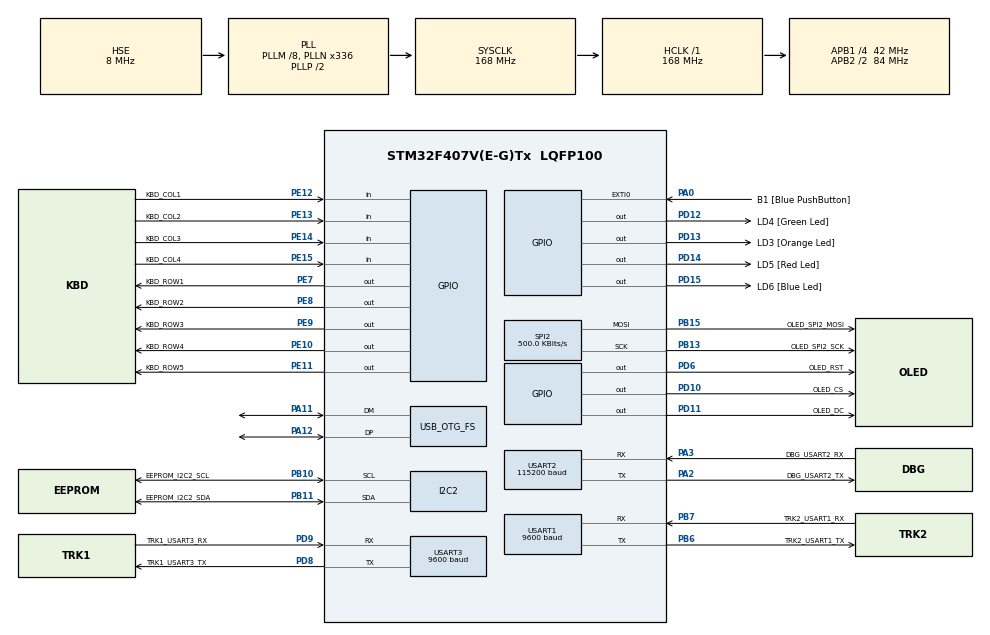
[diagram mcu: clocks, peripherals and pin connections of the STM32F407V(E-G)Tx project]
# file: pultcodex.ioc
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Dma.Request0=USART1_RX
Dma.Request1=USART1_TX
Dma.Request2=USART3_RX
Dma.Request3=USART3_TX
Dma.Request4=SPI2_TX
Dma.SPI2_TX.4.Direction=DMA_MEMORY_TO_PERIPH
Dma.SPI2_TX.4.FIFOMode=DMA_FIFOMODE_DISABLE
Dma.SPI2_TX.4.Instance=DMA1_Stream4
Dma.SPI2_TX.4.MemDataAlignment=DMA_MDATAALIGN_BYTE
Dma.SPI2_TX.4.MemInc=DMA_MINC_ENABLE
Dma.SPI2_TX.4.Mode=DMA_NORMAL
Dma.SPI2_TX.4.PeriphDataAlignment=DMA_PDATAALIGN_BYTE
Dma.SPI2_TX.4.PeriphInc=DMA_PINC_DISABLE
Dma.SPI2_TX.4.Priority=DMA_PRIORITY_HIGH
Dma.USART1_RX.0.Direction=DMA_PERIPH_TO_MEMORY
Dma.USART1_RX.0.FIFOMode=DMA_FIFOMODE_DISABLE
Dma.USART1_RX.0.Instance=DMA2_Stream2
Dma.USART1_RX.0.MemDataAlignment=DMA_MDATAALIGN_BYTE
Dma.USART1_RX.0.MemInc=DMA_MINC_ENABLE
Dma.USART1_RX.0.Mode=DMA_CIRCULAR
Dma.USART1_RX.0.PeriphDataAlignment=DMA_PDATAALIGN_BYTE
Dma.USART1_RX.0.PeriphInc=DMA_PINC_DISABLE
Dma.USART1_RX.0.Priority=DMA_PRIORITY_VERY_HIGH
Dma.USART1_TX.1.Direction=DMA_MEMORY_TO_PERIPH
Dma.USART1_TX.1.FIFOMode=DMA_FIFOMODE_DISABLE
Dma.USART1_TX.1.Instance=DMA2_Stream7
Dma.USART1_TX.1.MemDataAlignment=DMA_MDATAALIGN_BYTE
Dma.USART1_TX.1.MemInc=DMA_MINC_ENABLE
Dma.USART1_TX.1.Mode=DMA_NORMAL
Dma.USART1_TX.1.PeriphDataAlignment=DMA_PDATAALIGN_BYTE
Dma.USART1_TX.1.PeriphInc=DMA_PINC_DISABLE
Dma.USART1_TX.1.Priority=DMA_PRIORITY_HIGH
Dma.USART3_RX.2.Direction=DMA_PERIPH_TO_MEMORY
Dma.USART3_RX.2.FIFOMode=DMA_FIFOMODE_DISABLE
Dma.USART3_RX.2.Instance=DMA1_Stream1
Dma.USART3_RX.2.MemDataAlignment=DMA_MDATAALIGN_BYTE
Dma.USART3_RX.2.MemInc=DMA_MINC_ENABLE
Dma.USART3_RX.2.Mode=DMA_CIRCULAR
Dma.USART3_RX.2.PeriphDataAlignment=DMA_PDATAALIGN_BYTE
Dma.USART3_RX.2.PeriphInc=DMA_PINC_DISABLE
Dma.USART3_RX.2.Priority=DMA_PRIORITY_VERY_HIGH
Dma.USART3_TX.3.Direction=DMA_MEMORY_TO_PERIPH
Dma.USART3_TX.3.FIFOMode=DMA_FIFOMODE_DISABLE
Dma.USART3_TX.3.Instance=DMA1_Stream3
Dma.USART3_TX.3.MemDataAlignment=DMA_MDATAALIGN_BYTE
Dma.USART3_TX.3.MemInc=DMA_MINC_ENABLE
Dma.USART3_TX.3.Mode=DMA_NORMAL
Dma.USART3_TX.3.PeriphDataAlignment=DMA_PDATAALIGN_BYTE
Dma.USART3_TX.3.PeriphInc=DMA_PINC_DISABLE
Dma.USART3_TX.3.Priority=DMA_PRIORITY_HIGH
I2C2.I2C_Mode=I2C_Fast
Mcu.Family=STM32F4
Mcu.Name=STM32F407V(E-G)Tx
Mcu.Package=LQFP100
NVIC.DMA1_Stream1_IRQn=true\:0\:0\:false\:false\:true\:false\:true\:true
NVIC.DMA1_Stream3_IRQn=true\:0\:0\:false\:false\:true\:false\:true\:true
NVIC.DMA1_Stream4_IRQn=true\:0\:0\:false\:false\:true\:false\:true\:true
NVIC.DMA2_Stream2_IRQn=true\:0\:0\:false\:false\:true\:false\:true\:true
NVIC.DMA2_Stream7_IRQn=true\:0\:0\:false\:false\:true\:false\:true\:true
NVIC.OTG_FS_IRQn=true\:0\:0\:false\:false\:true\:false\:true\:true
NVIC.PriorityGroup=NVIC_PRIORITYGROUP_4
NVIC.TIM3_IRQn=true\:0\:0\:false\:false\:true\:true\:true\:true
NVIC.TIM4_IRQn=true\:0\:0\:false\:false\:true\:true\:true\:true
PA0-WKUP.GPIO_Label=B1 [Blue PushButton]
PA0-WKUP.GPIO_ModeDefaultEXTI=GPIO_MODE_EVT_RISING
PA0-WKUP.GPIO_PuPd=GPIO_NOPULL
PA0-WKUP.Signal=GPXTI0
PA11.Mode=Device_Only
PA11.Signal=USB_OTG_FS_DM
PA12.Mode=Device_Only
PA12.Signal=USB_OTG_FS_DP
PA13.GPIO_Label=SWDIO
PA13.Mode=Serial_Wire
PA13.Signal=SYS_JTMS-SWDIO
PA14.GPIO_Label=SWCLK
PA14.Mode=Serial_Wire
PA14.Signal=SYS_JTCK-SWCLK
PA2.GPIO_Label=DBG_USART2_TX
PA2.GPIO_Speed=GPIO_SPEED_FREQ_HIGH
PA2.Mode=Asynchronous
PA2.Signal=USART2_TX
PA3.GPIO_Label=DBG_USART2_RX
PA3.GPIO_Speed=GPIO_SPEED_FREQ_HIGH
PA3.Mode=Asynchronous
PA3.Signal=USART2_RX
PB10.GPIO_Label=EEPROM_I2C2_SCL
PB10.GPIO_Pu=GPIO_PULLUP
PB10.GPIO_Speed=GPIO_SPEED_FREQ_HIGH
PB10.Mode=I2C
PB10.Signal=I2C2_SCL
PB11.GPIO_Label=EEPROM_I2C2_SDA
PB11.GPIO_Pu=GPIO_PULLUP
PB11.GPIO_Speed=GPIO_SPEED_FREQ_HIGH
PB11.Mode=I2C
PB11.Signal=I2C2_SDA
PB13.GPIO_Label=OLED_SPI2_SCK
PB13.GPIO_Speed=GPIO_SPEED_FREQ_HIGH
PB13.Mode=TX_Only_Simplex_Unidirect_Master
PB13.Signal=SPI2_SCK
PB15.GPIO_Label=OLED_SPI2_MOSI
PB15.GPIO_Speed=GPIO_SPEED_FREQ_HIGH
PB15.Mode=TX_Only_Simplex_Unidirect_Master
PB15.Signal=SPI2_MOSI
PB6.GPIO_Label=TRK2_USART1_TX
PB6.GPIO_Speed=GPIO_SPEED_FREQ_HIGH
PB6.Mode=Asynchronous
PB6.Signal=USART1_TX
PB7.GPIO_Label=TRK2_USART1_RX
PB7.GPIO_Speed=GPIO_SPEED_FREQ_HIGH
PB7.Mode=Asynchronous
PB7.Signal=USART1_RX
PC14-OSC32_IN.GPIO_Label=PC14-OSC32_IN
PC14-OSC32_IN.Mode=LSE-External-Oscillator
PC14-OSC32_IN.Signal=RCC_OSC32_IN
PC15-OSC32_OUT.GPIO_Label=PC15-OSC32_OUT
PC15-OSC32_OUT.Mode=LSE-External-Oscillator
PC15-OSC32_OUT.Signal=RCC_OSC32_OUT
PD10.GPIO_Label=OLED_CS
PD10.GPIO_PuPd=GPIO_NOPULL
PD10.GPIO_Speed=GPIO_SPEED_FREQ_HIGH
PD10.PinState=GPIO_PIN_SET
PD10.Signal=GPIO_Output
PD11.GPIO_Label=OLED_DC
PD11.GPIO_PuPd=GPIO_NOPULL
PD11.GPIO_Speed=GPIO_SPEED_FREQ_HIGH
PD11.PinState=GPIO_PIN_RESET
PD11.Signal=GPIO_Output
PD12.GPIO_Label=LD4 [Green Led]
PD12.GPIO_PuPd=GPIO_NOPULL
PD12.GPIO_Speed=GPIO_SPEED_FREQ_LOW
PD12.Signal=GPIO_Output
PD13.GPIO_Label=LD3 [Orange Led]
PD13.GPIO_PuPd=GPIO_NOPULL
PD13.GPIO_Speed=GPIO_SPEED_FREQ_LOW
PD13.Signal=GPIO_Output
PD14.GPIO_Label=LD5 [Red Led]
PD14.GPIO_PuPd=GPIO_NOPULL
PD14.GPIO_Speed=GPIO_SPEED_FREQ_LOW
PD14.Signal=GPIO_Output
PD15.GPIO_Label=LD6 [Blue Led]
PD15.GPIO_PuPd=GPIO_NOPULL
PD15.GPIO_Speed=GPIO_SPEED_FREQ_LOW
PD15.Signal=GPIO_Output
PD6.GPIO_Label=OLED_RST
PD6.GPIO_PuPd=GPIO_NOPULL
PD6.GPIO_Speed=GPIO_SPEED_FREQ_HIGH
PD6.PinState=GPIO_PIN_SET
PD6.Signal=GPIO_Output
PD8.GPIO_Label=TRK1_USART3_TX
PD8.GPIO_Speed=GPIO_SPEED_FREQ_HIGH
PD8.Mode=Asynchronous
PD8.Signal=USART3_TX
PD9.GPIO_Label=TRK1_USART3_RX
PD9.GPIO_Speed=GPIO_SPEED_FREQ_HIGH
PD9.Mode=Asynchronous
PD9.Signal=USART3_RX
PE10.GPIO_Label=KBD_ROW4
PE10.GPIO_PuPd=GPIO_NOPULL
PE10.GPIO_Speed=GPIO_SPEED_FREQ_LOW
PE10.PinState=GPIO_PIN_SET
PE10.Signal=GPIO_Output
PE11.GPIO_Label=KBD_ROW5
PE11.GPIO_PuPd=GPIO_NOPULL
PE11.GPIO_Speed=GPIO_SPEED_FREQ_LOW
PE11.PinState=GPIO_PIN_SET
PE11.Signal=GPIO_Output
PE12.GPIO_Label=KBD_COL1
PE12.GPIO_PuPd=GPIO_PULLUP
PE12.Signal=GPIO_Input
PE13.GPIO_Label=KBD_COL2
PE13.GPIO_PuPd=GPIO_PULLUP
PE13.Signal=GPIO_Input
PE14.GPIO_Label=KBD_COL3
PE14.GPIO_PuPd=GPIO_PULLUP
PE14.Signal=GPIO_Input
PE15.GPIO_Label=KBD_COL4
PE15.GPIO_PuPd=GPIO_PULLUP
PE15.Signal=GPIO_Input
PE7.GPIO_Label=KBD_ROW1
PE7.GPIO_PuPd=GPIO_NOPULL
PE7.GPIO_Speed=GPIO_SPEED_FREQ_LOW
PE7.PinState=GPIO_PIN_SET
PE7.Signal=GPIO_Output
PE8.GPIO_Label=KBD_ROW2
PE8.GPIO_PuPd=GPIO_NOPULL
PE8.GPIO_Speed=GPIO_SPEED_FREQ_LOW
PE8.PinState=GPIO_PIN_SET
PE8.Signal=GPIO_Output
PE9.GPIO_Label=KBD_ROW3
PE9.GPIO_PuPd=GPIO_NOPULL
PE9.GPIO_Speed=GPIO_SPEED_FREQ_LOW
PE9.PinState=GPIO_PIN_SET
PE9.Signal=GPIO_Output
PH0-OSC_IN.GPIO_Label=PH0-OSC_IN
PH0-OSC_IN.Mode=HSE-External-Oscillator
PH0-OSC_IN.Signal=RCC_OSC_IN
PH1-OSC_OUT.GPIO_Label=PH1-OSC_OUT
PH1-OSC_OUT.Mode=HSE-External-Oscillator
PH1-OSC_OUT.Signal=RCC_OSC_OUT
ProjectManager.HeapSize=0x240
ProjectManager.StackSize=0x400
ProjectManager.TargetToolchain=STM32CubeIDE
RCC.48MHZClocksFreq_Value=48000000
RCC.AHBFreq_Value=168000000
RCC.APB1CLKDivider=RCC_HCLK_DIV4
RCC.APB1Freq_Value=42000000
RCC.APB1TimFreq_Value=84000000
RCC.APB2CLKDivider=RCC_HCLK_DIV2
RCC.APB2Freq_Value=84000000
RCC.APB2TimFreq_Value=168000000
RCC.CortexFreq_Value=168000000
RCC.HCLKFreq_Value=168000000
RCC.HSE_VALUE=8000000
RCC.HSI_VALUE=16000000
RCC.PLLM=8
RCC.PLLN=336
RCC.PLLQ=7
RCC.SYSCLKFreq_VALUE=168000000
RCC.SYSCLKSource=RCC_SYSCLKSOURCE_PLLCLK
RCC.VCOOutputFreq_Value=336000000
SPI2.BaudRatePrescaler=SPI_BAUDRATEPRESCALER_8
SPI2.CLKPhase=SPI_PHASE_1EDGE
SPI2.CLKPolarity=SPI_POLARITY_LOW
SPI2.CalculateBaudRate=500.0 KBits/s
SPI2.DataSize=SPI_DATASIZE_8BIT
SPI2.Direction=SPI_DIRECTION_2LINES
SPI2.Mode=SPI_MODE_MASTER
SPI2.VirtualType=VM_MASTER
TIM3.AutoReloadPreload=TIM_AUTORELOAD_PRELOAD_ENABLE
TIM3.Period=9
TIM3.Prescaler=8399
TIM4.AutoReloadPreload=TIM_AUTORELOAD_PRELOAD_ENABLE
TIM4.Period=99
TIM4.Prescaler=8399
USART1.BaudRate=9600
USART1.VirtualMode=VM_ASYNC
USART1.VirtualMode-Asynchronous=VM_ASYNC
USART2.BaudRate=115200
USART2.VirtualMode=VM_ASYNC
USART2.VirtualMode-Asynchronous=VM_ASYNC
USART3.BaudRate=9600
USART3.VirtualMode=VM_ASYNC
USART3.VirtualMode-Asynchronous=VM_ASYNC
USB_DEVICE.CLASS_NAME_FS=CDC
USB_DEVICE.VirtualMode-CDC_FS=Cdc
USB_DEVICE.VirtualModeFS=Cdc_FS
USB_OTG_FS.VirtualMode=Device_Only
VP_TIM3_VS_ClockSourceINT.Mode=Internal
VP_TIM4_VS_ClockSourceINT.Mode=Internal
VP_USB_DEVICE_VS_USB_DEVICE_CDC_FS.Mode=CDC_FS
board=STM32F407G-DISC1

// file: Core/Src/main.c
/* USER CODE BEGIN Header */
/**
  ******************************************************************************
  * @file           : main.c
  * @brief          : Main program body
  ******************************************************************************
  * @attention
  *
  * Copyright (c) 2026 STMicroelectronics.
  * All rights reserved.
  *
  * This software is licensed under terms that can be found in the LICENSE file
  * in the root directory of this software component.
  * If no LICENSE file comes with this software, it is provided AS-IS.
  *
  ******************************************************************************
  */
/* USER CODE END Header */
#include "main.h"
#include "dma.h"
#include "i2c.h"
#include "spi.h"
#include "tim.h"
#include "usart.h"
#include "usb_device.h"
#include "gpio.h"

/* USER CODE BEGIN Includes */
#include <string.h>
#include <stdio.h>
#include "app_log.h"
#include "keyboard.h"
#include "ssd1322.h"
#include "trk_probe.h"
#include "eeprom_at24.h"

/* USER CODE END Includes */

void SystemClock_Config(void);
/* USER CODE BEGIN PFP */
static void ShowBootScreen(void);
static void ShowTrkProbeStatus(void);

/* USER CODE END PFP */

/* USER CODE BEGIN 0 */
static void ShowBootScreen(void)
{
  SSD1322_Clear(0x00U);
  SSD1322_DrawString8x8(8U, 8U, "PULTCODEX", 0x0FU);
  SSD1322_DrawString8x8(8U, 24U, "IDLE FSM START", 0x0FU);
  SSD1322_DrawString8x8(8U, 40U, "WAITING FOR STATUS", 0x0FU);
  SSD1322_Flush();
}

static const char *ChannelMainText(const TrkProbeChannelStatus *ch)
{
  if (ch->enabled == 0U)
  {
    return "Off";
  }

  if (ch->online == 0U)
  {
    return "Not Connect!";
  }

  switch ((TrkDispenseMode)ch->dispense_mode)
  {
    case TRK_DISPENSE_MODE_VOLUME:
      return "L:0";
    case TRK_DISPENSE_MODE_FULL:
      return "H";
    case TRK_DISPENSE_MODE_MONEY:
    default:
      return "A:0";
  }
}

static void FormatVolumeCl(uint32_t volume_cl, char *buf, size_t buf_size)
{
  uint32_t liters = volume_cl / 100UL;
  uint32_t frac = volume_cl % 100UL;

  if ((buf == NULL) || (buf_size == 0U))
  {
    return;
  }

  (void)snprintf(buf, buf_size, "%lu.%02lu",
                 (unsigned long)liters,
                 (unsigned long)frac);
}

static void FormatChannelHeader(const char *label,
                                const TrkProbeChannelStatus *ch,
                                char *buf,
                                size_t buf_size)
{
  uint8_t blink_on = ((HAL_GetTick() / 400U) % 2U) != 0U;
  const char *suffix = "";

  if ((buf == NULL) || (buf_size == 0U) || (ch == NULL))
  {
    return;
  }

  if ((ch->enabled != 0U) && (ch->online != 0U))
  {
    if (((TrkChannelState)ch->channel_state == TRK_CHANNEL_CALLING) &&
        (ch->transaction_pending == 0U) &&
        (blink_on != 0U))
    {
      suffix = " UP";
    }
    else if (((TrkChannelState)ch->channel_state == TRK_CHANNEL_AUTH_WAIT) &&
             (ch->transaction_pending != 0U) &&
             (blink_on != 0U))
    {
      suffix = " *";
    }
    else if (((TrkChannelState)ch->channel_state == TRK_CHANNEL_STARTED) ||
             ((TrkChannelState)ch->channel_state == TRK_CHANNEL_PAUSED) ||
             ((TrkChannelState)ch->channel_state == TRK_CHANNEL_FUELLING))
    {
      suffix = " UP";
    }
    else if (((TrkChannelState)ch->channel_state == TRK_CHANNEL_FINISHING) ||
             ((TrkChannelState)ch->channel_state == TRK_CHANNEL_FINISHED_HOLD))
    {
      suffix = " END";
    }
  }

  (void)snprintf(buf, buf_size, "%c%s%s",
                 (ch->ui_selected != 0U) ? '>' : ' ',
                 label,
                 suffix);
}

static void ShowMainChannelPanel(uint8_t x, const char *label,
                                 const TrkProbeChannelStatus *ch)
{
  char line[24];
  char main_text[24];
  char sub_text[24];
  const char *fallback_text = ChannelMainText(ch);

  FormatChannelHeader(label, ch, line, sizeof(line));
  SSD1322_DrawString8x8(x, 0U, line, 0x0FU);

  main_text[0] = '\0';
  sub_text[0] = '\0';

  if ((ch->enabled != 0U) && (ch->online != 0U))
  {
    if (ch->totalizer_view != 0U)
    {
      char totalizer_text[20];

      (void)snprintf(main_text, sizeof(main_text), "TOT");
      if (ch->totalizer_ready != 0U)
      {
        FormatVolumeCl(ch->totalizer_volume_cl, totalizer_text, sizeof(totalizer_text));
        (void)snprintf(sub_text, sizeof(sub_text), "%s L", totalizer_text);
      }
      else
      {
        (void)snprintf(sub_text, sizeof(sub_text), "WAIT...");
      }
    }
    else
    {
    uint32_t shown_money = ch->preset_money;
    uint32_t shown_volume_cl = ch->preset_volume_cl;

    if (ch->final_data_ready != 0U)
    {
      shown_money = ch->final_money;
      shown_volume_cl = ch->final_volume_cl;
    }
    else if (((TrkChannelState)ch->channel_state == TRK_CHANNEL_STARTED) ||
             ((TrkChannelState)ch->channel_state == TRK_CHANNEL_PAUSED) ||
             ((TrkChannelState)ch->channel_state == TRK_CHANNEL_FUELLING))
    {
      shown_money = ch->live_money;
      shown_volume_cl = ch->live_volume_cl;
    }

    switch ((TrkDispenseMode)ch->dispense_mode)
    {
      case TRK_DISPENSE_MODE_MONEY:
        (void)snprintf(main_text, sizeof(main_text), "A:%lu",
                       (unsigned long)shown_money);
        {
          char volume_text[16];
          FormatVolumeCl(shown_volume_cl, volume_text, sizeof(volume_text));
          (void)snprintf(sub_text, sizeof(sub_text), "L:%s", volume_text);
        }
        break;

      case TRK_DISPENSE_MODE_VOLUME:
        {
          char volume_text[16];
          FormatVolumeCl(shown_volume_cl, volume_text, sizeof(volume_text));
          (void)snprintf(main_text, sizeof(main_text), "L:%s", volume_text);
        }
        (void)snprintf(sub_text, sizeof(sub_text), "A:%lu",
                       (unsigned long)shown_money);
        break;

      case TRK_DISPENSE_MODE_FULL:
      default:
        {
          char volume_text[16];
          FormatVolumeCl(shown_volume_cl, volume_text, sizeof(volume_text));
          if (((TrkChannelState)ch->channel_state == TRK_CHANNEL_STARTED) ||
              ((TrkChannelState)ch->channel_state == TRK_CHANNEL_PAUSED) ||
              ((TrkChannelState)ch->channel_state == TRK_CHANNEL_FUELLING) ||
              (ch->final_data_ready != 0U))
          {
            (void)snprintf(main_text, sizeof(main_text), "L:%s", volume_text);
            (void)snprintf(sub_text, sizeof(sub_text), "A:%lu",
                           (unsigned long)shown_money);
          }
          else
          {
            (void)snprintf(main_text, sizeof(main_text), "H");
            (void)snprintf(sub_text, sizeof(sub_text), "L:%s", volume_text);
          }
        }
        break;
    }
    }
  }
  else
  {
    (void)snprintf(main_text, sizeof(main_text), "%s", fallback_text);
  }

  if ((ch->enabled != 0U) && (ch->online != 0U) && (ch->totalizer_view == 0U))
  {
    SSD1322_DrawString16x16(x, 20U, main_text, 0x0FU);
  }
  else
  {
    SSD1322_DrawString8x8(x, 24U, main_text, 0x0FU);
  }

  if (sub_text[0] != '\0')
  {
    SSD1322_DrawString8x8(x, 46U, sub_text, 0x0FU);
  }
}

static void ShowTrkProbeStatus(void)
{
  const TrkProbeStatus *status = TrkProbe_GetStatus();
  static TrkProbeStatus last_drawn_status;
  static uint32_t last_draw_ms;
  char line[42];
  char masked_pin[12];
  size_t i;
  uint32_t now = HAL_GetTick();

  if ((memcmp(&last_drawn_status, status, sizeof(last_drawn_status)) == 0) &&
      ((now - last_draw_ms) < 250U))
  {
    return;
  }

  last_drawn_status = *status;
  last_draw_ms = now;

  SSD1322_Clear(0x00U);

  if (status->ui_mode == (uint8_t)TRK_UI_MODE_MAIN)
  {
    ShowMainChannelPanel(8U, "TRK1", &status->trk1);
    ShowMainChannelPanel(136U, "TRK2", &status->trk2);
    if (status->notice[0] != '\0')
    {
      SSD1322_DrawString8x8(90U, 56U, status->notice, 0x0FU);
    }
  }
  else if (status->ui_mode == (uint8_t)TRK_UI_MODE_MENU)
  {
    SSD1322_DrawString8x8(8U, 0U, "USER MENU", 0x0FU);
    (void)snprintf(line, sizeof(line), "%c STATUS",
                   (status->menu_index == 0U) ? '>' : ' ');
    SSD1322_DrawString8x8(8U, 12U, line, 0x0FU);
    (void)snprintf(line, sizeof(line), "%c TOTALS",
                   (status->menu_index == 1U) ? '>' : ' ');
    SSD1322_DrawString8x8(8U, 22U, line, 0x0FU);
    (void)snprintf(line, sizeof(line), "%c TRK1 PRICE",
                   (status->menu_index == 2U) ? '>' : ' ');
    SSD1322_DrawString8x8(8U, 32U, line, 0x0FU);
    (void)snprintf(line, sizeof(line), "%c TRK2 PRICE",
                   (status->menu_index == 3U) ? '>' : ' ');
    SSD1322_DrawString8x8(8U, 42U, line, 0x0FU);
    (void)snprintf(line, sizeof(line), "%c ADMIN",
                   (status->menu_index == 4U) ? '>' : ' ');
    SSD1322_DrawString8x8(8U, 52U, line, 0x0FU);
  }
  else if (status->ui_mode == (uint8_t)TRK_UI_MODE_STATUS_VIEW)
  {
    SSD1322_DrawString8x8(8U, 0U, "STATUS", 0x0FU);
    (void)snprintf(line, sizeof(line), "TRK1 %s %c",
                   (status->trk1.enabled == 0U) ? "OFF" :
                   ((status->trk1.online == 0U) ? "N/C" : "ON "),
                   (status->trk1.dispense_mode == (uint8_t)TRK_DISPENSE_MODE_MONEY) ? 'A' :
                   ((status->trk1.dispense_mode == (uint8_t)TRK_DISPENSE_MODE_VOLUME) ? 'L' : 'H'));
    SSD1322_DrawString8x8(8U, 16U, line, 0x0FU);
    (void)snprintf(line, sizeof(line), "S:%c P:%s",
                   (char)((status->trk1.last_status >= 32U && status->trk1.last_status <= 126U) ? status->trk1.last_status : '-'),
                   status->trk1.price_text);
    SSD1322_DrawString8x8(8U, 28U, line, 0x0FU);
    (void)snprintf(line, sizeof(line), "TRK2 %s %c",
                   (status->trk2.enabled == 0U) ? "OFF" :
                   ((status->trk2.online == 0U) ? "N/C" : "ON "),
                   (status->trk2.dispense_mode == (uint8_t)TRK_DISPENSE_MODE_MONEY) ? 'A' :
                   ((status->trk2.dispense_mode == (uint8_t)TRK_DISPENSE_MODE_VOLUME) ? 'L' : 'H'));
    SSD1322_DrawString8x8(8U, 40U, line, 0x0FU);
    (void)snprintf(line, sizeof(line), "S:%c P:%s",
                   (char)((status->trk2.last_status >= 32U && status->trk2.last_status <= 126U) ? status->trk2.last_status : '-'),
                   status->trk2.price_text);
    SSD1322_DrawString8x8(8U, 52U, line, 0x0FU);
  }
  else if (status->ui_mode == (uint8_t)TRK_UI_MODE_TOTALS_VIEW)
  {
    const TrkProbeChannelStatus *sum_ch =
      (status->active_ui_trk == 2U) ? &status->trk2 : &status->trk1;
    char totalizer_text[20];

    SSD1322_DrawString8x8(8U, 0U, "TOTALS", 0x0FU);
    (void)snprintf(line, sizeof(line), "TRK%u",
                   (unsigned int)status->active_ui_trk);
    SSD1322_DrawString8x8(8U, 16U, line, 0x0FU);
    if (sum_ch->totalizer_ready != 0U)
    {
      FormatVolumeCl(sum_ch->totalizer_volume_cl, totalizer_text, sizeof(totalizer_text));
      SSD1322_DrawString16x16(8U, 28U, totalizer_text, 0x0FU);
      SSD1322_DrawString8x8(160U, 40U, "L", 0x0FU);
    }
    else
    {
      SSD1322_DrawString8x8(8U, 32U, "WAIT...", 0x0FU);
    }
    SSD1322_DrawString8x8(8U, 56U, "E BACK G/H TRK", 0x0FU);
  }
  else if (status->ui_mode == (uint8_t)TRK_UI_MODE_PIN_INPUT)
  {
    memset(masked_pin, 0, sizeof(masked_pin));
    for (i = 0U; (i < strlen(status->admin_pin_edit_buf)) && (i < sizeof(masked_pin) - 1U); ++i)
    {
      masked_pin[i] = '*';
    }
    if (masked_pin[0] == '\0')
    {
      masked_pin[0] = '_';
      masked_pin[1] = '\0';
    }

    SSD1322_DrawString8x8(8U, 0U,
                          (status->admin_pin_change_mode != 0U) ? "NEW ADMIN PIN" : "ADMIN PIN",
                          0x0FU);
    SSD1322_DrawString8x8(8U, 18U,
                          (status->admin_pin_change_mode != 0U) ? "4..8 digits" : "Enter PIN",
                          0x0FU);
    (void)snprintf(line, sizeof(line), "PIN:%s", masked_pin);
    SSD1322_DrawString16x16(8U, 28U, line, 0x0FU);
    if (status->notice[0] != '\0')
    {
      SSD1322_DrawString8x8(120U, 0U, status->notice, 0x0FU);
    }
    SSD1322_DrawString8x8(8U, 56U, "K OK  E CLR", 0x0FU);
  }
  else if (status->ui_mode == (uint8_t)TRK_UI_MODE_ADMIN_MENU)
  {
    SSD1322_DrawString8x8(8U, 0U, "ADMIN MENU", 0x0FU);
    (void)snprintf(line, sizeof(line), "%c TRK1 %s",
                   (status->admin_menu_index == 0U) ? '>' : ' ',
                   (status->trk1.enabled != 0U) ? "ON" : "OFF");
    SSD1322_DrawString8x8(8U, 16U, line, 0x0FU);
    (void)snprintf(line, sizeof(line), "%c TRK2 %s",
                   (status->admin_menu_index == 1U) ? '>' : ' ',
                   (status->trk2.enabled != 0U) ? "ON" : "OFF");
    SSD1322_DrawString8x8(8U, 28U, line, 0x0FU);
    (void)snprintf(line, sizeof(line), "%c CHANGE PIN",
                   (status->admin_menu_index == 2U) ? '>' : ' ');
    SSD1322_DrawString8x8(8U, 40U, line, 0x0FU);
    if (status->notice[0] != '\0')
    {
      SSD1322_DrawString8x8(8U, 52U, status->notice, 0x0FU);
    }
  }
  else
  {
    const TrkProbeChannelStatus *edit_ch =
      (status->active_ui_trk == 2U) ? &status->trk2 : &status->trk1;

    SSD1322_DrawString8x8(8U, 0U, "EDIT PRICE", 0x0FU);
    (void)snprintf(line, sizeof(line), "TRK%u PRICE",
                   (unsigned int)status->active_ui_trk);
    SSD1322_DrawString8x8(8U, 18U, line, 0x0FU);
    (void)snprintf(line, sizeof(line), "OLD:%s", edit_ch->price_text);
    SSD1322_DrawString8x8(8U, 30U, line, 0x0FU);
    (void)snprintf(line, sizeof(line), "NEW:%s",
                   (edit_ch->price_edit_buf[0] != '\0') ? edit_ch->price_edit_buf : "_");
    SSD1322_DrawString8x8(8U, 42U, line, 0x0FU);
    if (status->notice[0] != '\0')
    {
      SSD1322_DrawString8x8(120U, 0U, status->notice, 0x0FU);
    }
    SSD1322_DrawString8x8(8U, 52U, "K SAVE  E CLR", 0x0FU);
  }

  SSD1322_Flush();
}

/* USER CODE END 0 */

int main(void)
{

  /* MCU Configuration--------------------------------------------------------*/

  /* Reset of all peripherals, Initializes the Flash interface and the Systick. */
  HAL_Init();

  /* Configure the system clock */
  SystemClock_Config();

  /* Initialize all configured peripherals */
  MX_GPIO_Init();
  MX_DMA_Init();
  MX_USART1_UART_Init();
  MX_USART2_UART_Init();
  MX_USART3_UART_Init();
  MX_I2C2_Init();
  MX_SPI2_Init();
  MX_TIM3_Init();
  MX_TIM4_Init();
  MX_USB_DEVICE_Init();
  /* USER CODE BEGIN 2 */
  if (HAL_TIM_Base_Start_IT(&htim3) != HAL_OK)
  {
    Error_Handler();
  }

  if (HAL_TIM_Base_Start_IT(&htim4) != HAL_OK)
  {
    Error_Handler();
  }

  SSD1322_Init();
  Keyboard_Init();
  AppLog_Init();
  TrkProbe_Init();
  ShowBootScreen();
  AppLog_Message(APP_LOG_LEVEL_INFO, "BOOT", "PULTCODEX USB CDC READY");

  /* USER CODE END 2 */

  /* Infinite loop */
  while (1)
  {

    /* USER CODE BEGIN 3 */
    KeyboardEvent event;

    if (Keyboard_GetEvent(&event) != 0U)
    {
      AppLog_KeyEvent(&event);
      if (event.pressed != 0U)
      {
        TrkProbe_HandleKey(&event);
      }
    }

    TrkProbe_Task();
    ShowTrkProbeStatus();
    AppLog_Task();
  }
  /* USER CODE END 3 */
}

void SystemClock_Config(void)
{
  RCC_OscInitTypeDef RCC_OscInitStruct = {0};
  RCC_ClkInitTypeDef RCC_ClkInitStruct = {0};

  /** Configure the main internal regulator output voltage
  */
  __HAL_RCC_PWR_CLK_ENABLE();
  __HAL_PWR_VOLTAGESCALING_CONFIG(PWR_REGULATOR_VOLTAGE_SCALE1);

  /** Initializes the RCC Oscillators according to the specified parameters
  * in the RCC_OscInitTypeDef structure.
  */
  RCC_OscInitStruct.OscillatorType = RCC_OSCILLATORTYPE_HSI|RCC_OSCILLATORTYPE_HSE;
  RCC_OscInitStruct.HSEState = RCC_HSE_ON;
  RCC_OscInitStruct.HSIState = RCC_HSI_ON;
  RCC_OscInitStruct.HSICalibrationValue = RCC_HSICALIBRATION_DEFAULT;
  RCC_OscInitStruct.PLL.PLLState = RCC_PLL_ON;
  RCC_OscInitStruct.PLL.PLLSource = RCC_PLLSOURCE_HSE;
  RCC_OscInitStruct.PLL.PLLM = 8;
  RCC_OscInitStruct.PLL.PLLN = 336;
  RCC_OscInitStruct.PLL.PLLP = RCC_PLLP_DIV2;
  RCC_OscInitStruct.PLL.PLLQ = 7;
  if (HAL_RCC_OscConfig(&RCC_OscInitStruct) != HAL_OK)
  {
    Error_Handler();
  }

  /** Initializes the CPU, AHB and APB buses clocks
  */
  RCC_ClkInitStruct.ClockType = RCC_CLOCKTYPE_HCLK|RCC_CLOCKTYPE_SYSCLK
                              |RCC_CLOCKTYPE_PCLK1|RCC_CLOCKTYPE_PCLK2;
  RCC_ClkInitStruct.SYSCLKSource = RCC_SYSCLKSOURCE_PLLCLK;
  RCC_ClkInitStruct.AHBCLKDivider = RCC_SYSCLK_DIV1;
  RCC_ClkInitStruct.APB1CLKDivider = RCC_HCLK_DIV4;
  RCC_ClkInitStruct.APB2CLKDivider = RCC_HCLK_DIV2;

  if (HAL_RCC_ClockConfig(&RCC_ClkInitStruct, FLASH_LATENCY_5) != HAL_OK)
  {
    Error_Handler();
  }
}

/* USER CODE BEGIN 4 */
void HAL_TIM_PeriodElapsedCallback(TIM_HandleTypeDef *htim)
{
  if (htim->Instance == TIM3)
  {
    TrkProbe_On1msTick();
  }
  else if (htim->Instance == TIM4)
  {
    Keyboard_Task10ms();
  }
}

void HAL_UARTEx_RxEventCallback(UART_HandleTypeDef *huart, uint16_t size)
{
  TrkProbe_OnRxEvent(huart, size);
}

void HAL_UART_TxCpltCallback(UART_HandleTypeDef *huart)
{
  TrkProbe_OnTxCplt(huart);
}

void HAL_I2C_MemTxCpltCallback(I2C_HandleTypeDef *hi2c)
{
  AT24_OnMemTxCplt(hi2c);
}

void HAL_I2C_MemRxCpltCallback(I2C_HandleTypeDef *hi2c)
{
  AT24_OnMemRxCplt(hi2c);
}

void HAL_I2C_ErrorCallback(I2C_HandleTypeDef *hi2c)
{
  AT24_OnError(hi2c);
}

/* USER CODE END 4 */

void Error_Handler(void)
{
  __disable_irq();
  while (1)
  {
  }
}
